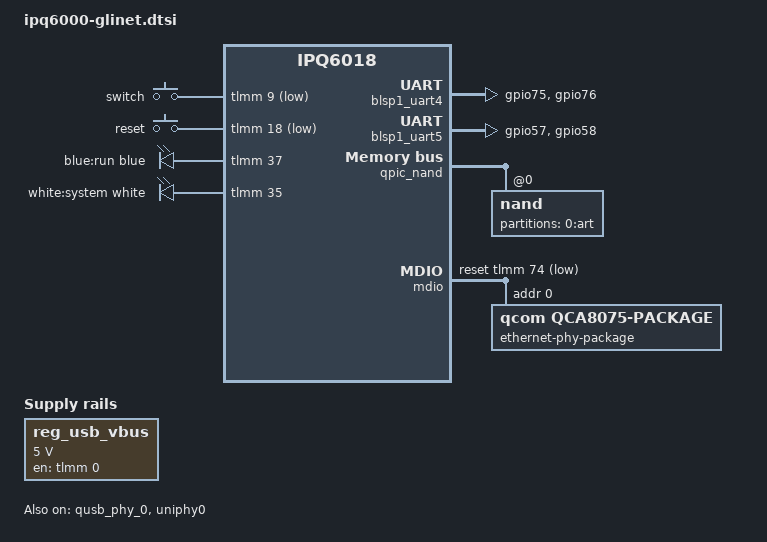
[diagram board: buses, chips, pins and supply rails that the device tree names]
// SPDX-License-Identifier: GPL-2.0-or-later OR MIT

#include "ipq6018.dtsi"
#include "ipq6018-ess.dtsi"
#include "ipq6018-nss.dtsi"
#include "ipq6018-common.dtsi"

#include <dt-bindings/gpio/gpio.h>
#include <dt-bindings/input/input.h>
#include <dt-bindings/leds/common.h>

/ {
	aliases {
		serial0 = &blsp1_uart3;
		serial1 = &blsp1_uart4;
		serial2 = &blsp1_uart5;

		led-boot = &led_run;
		led-failsafe = &led_run;
		led-running = &led_run;
		led-upgrade = &led_run;
	};

	chosen {
		stdout-path = "serial0:115200n8";
		bootargs-append = " root=/dev/ubiblock0_1";
	};

	keys {
		compatible = "gpio-keys";

		switch {
			label = "switch";
			linux,code = <BTN_0>;
			linux,input-type = <EV_SW>;
			gpios = <&tlmm 9 GPIO_ACTIVE_LOW>;
		};

		reset {
			label = "reset";
			linux,code = <KEY_RESTART>;
			gpios = <&tlmm 18 GPIO_ACTIVE_LOW>;
		};
	};

	leds {
		compatible = "gpio-leds";

		led_run: run {
			label = "blue:run";
			color = <LED_COLOR_ID_BLUE>;
			gpios = <&tlmm 37 GPIO_ACTIVE_HIGH>;
		};

		system {
			label = "white:system";
			color = <LED_COLOR_ID_WHITE>;
			gpios = <&tlmm 35 GPIO_ACTIVE_HIGH>;
		};
	};

	reg_usb_vbus: regulator-usb-vbus {
		compatible = "regulator-fixed";
		regulator-name = "usb_vbus";
		regulator-min-microvolt = <5000000>;
		regulator-max-microvolt = <5000000>;
		gpios = <&tlmm 0 GPIO_ACTIVE_HIGH>;
		enable-active-high;
		regulator-boot-on;
	};
};

&tlmm {
	tluart_pins: tluart-pins {
		pins = "gpio75", "gpio76";
		function = "blsp3_uart";
		drive-strength = <8>;
		bias-disable;
	};

	hsuart_pins: hsuart-pins {
		pins = "gpio57", "gpio58";
		function = "blsp4_uart";
		drive-strength = <8>;
		bias-disable;
	};
};

&blsp1_uart4 {
	pinctrl-0 = <&tluart_pins>;
	pinctrl-names = "default";
	status = "okay";
};

&blsp1_uart5 {
	pinctrl-0 = <&hsuart_pins>;
	pinctrl-names = "default";
	status = "okay";
};

&qpic_nand {
	status = "okay";

	nand@0 {
		reg = <0>;

		nand-ecc-strength = <4>;
		nand-ecc-step-size = <512>;
		nand-bus-width = <8>;

		partitions {
			compatible = "qcom,smem-part";

			partition-0-art {
				label = "0:art";
				read-only;

				nvmem-layout {
					compatible = "fixed-layout";
					#address-cells = <1>;
					#size-cells = <1>;

					macaddr_wan: macaddr@0 {
						reg = <0x0 0x6>;
					};

					macaddr_lan: macaddr@6 {
						reg = <0x6 0x6>;
					};
				};
			};
		};
	};
};

&qusb_phy_0 {
	vdd-supply = <&reg_usb_vbus>;
	status = "okay";
};

&mdio {
	status = "okay";

	pinctrl-0 = <&mdio_pins>;
	pinctrl-names = "default";
	reset-gpios = <&tlmm 74 GPIO_ACTIVE_LOW>;

	ethernet-phy-package@0 {
		compatible = "qcom,qca8075-package";
		qcom,package-mode = "psgmii";
		#address-cells = <1>;
		#size-cells = <0>;
		reg = <0>;

		qca8075_0: ethernet-phy@0 {
			compatible = "ethernet-phy-ieee802.3-c22";
			reg = <0>;
		};

		qca8075_1: ethernet-phy@1 {
			compatible = "ethernet-phy-ieee802.3-c22";
			reg = <1>;
		};

		qca8075_2: ethernet-phy@2 {
			compatible = "ethernet-phy-ieee802.3-c22";
			reg = <2>;
		};

		qca8075_3: ethernet-phy@3 {
			compatible = "ethernet-phy-ieee802.3-c22";
			reg = <3>;
		};

		qca8075_4: ethernet-phy@4 {
			compatible = "ethernet-phy-ieee802.3-c22";
			reg = <4>;
		};
	};
};

&uniphy0 {
	status = "okay";
};

&edma {
	status = "okay";
};
